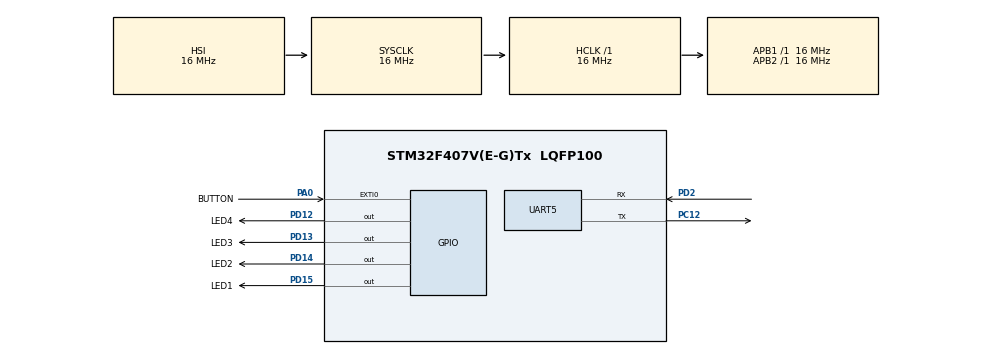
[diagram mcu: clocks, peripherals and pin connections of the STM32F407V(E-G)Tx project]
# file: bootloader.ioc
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Mcu.Family=STM32F4
PD12.GPIO_Label=LED4
RCC.CortexFreq_Value=16000000
PD15.GPIO_Label=LED1
PC12.Signal=UART5_TX
UART5.VirtualMode=Asynchronous
ProjectManager.StackSize=0x400
PA0-WKUP.GPIO_Label=BUTTON
PA0-WKUP.Signal=GPXTI0
PD13.Signal=GPIO_Output
ProjectManager.TargetToolchain=STM32CubeIDE
RCC.LSE_VALUE=32768
RCC.AHBFreq_Value=16000000
PD2.Mode=Asynchronous
RCC.HSE_VALUE=25000000
PC12.Mode=Asynchronous
board=custom
RCC.VCOOutputFreq_Value=192000000
RCC.APB2Freq_Value=16000000
PD14.GPIO_Label=LED2
Mcu.Name=STM32F407V(E-G)Tx
PD14.Signal=GPIO_Output
NVIC.EXTI0_IRQn=true\:0\:0\:false\:false\:true\:true\:true
RCC.SYSCLKFreq_VALUE=16000000
PD13.GPIO_Label=LED3
Mcu.Package=LQFP100
PD12.Signal=GPIO_Output
ProjectManager.HeapSize=0x200
RCC.HSI_VALUE=16000000
NVIC.PriorityGroup=NVIC_PRIORITYGROUP_4
PA0-WKUP.GPIO_PuPd=GPIO_PULLDOWN
PD2.Signal=UART5_RX
RCC.APB1Freq_Value=16000000
PD15.Signal=GPIO_Output

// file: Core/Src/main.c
/* USER CODE BEGIN Header */
/**
  ******************************************************************************
  * @file           : main.c
  * @brief          : Main program body
  ******************************************************************************
  * @attention
  *
  * <h2><center>&copy; Copyright (c) 2022 STMicroelectronics.
  * All rights reserved.</center></h2>
  *
  * This software component is licensed by ST under BSD 3-Clause license,
  * the "License"; You may not use this file except in compliance with the
  * License. You may obtain a copy of the License at:
  *                        opensource.org/licenses/BSD-3-Clause
  *
  ******************************************************************************
  */
/* USER CODE END Header */
#include "main.h"
#include "usart.h"
#include "gpio.h"

/* USER CODE BEGIN Includes */
#include "stdio.h"
/* USER CODE END Includes */

void SystemClock_Config(void);
/* USER CODE BEGIN PFP */
static void goto_application( void );
/* USER CODE END PFP */

int main(void)
{

  /* MCU Configuration--------------------------------------------------------*/

  /* Reset of all peripherals, Initializes the Flash interface and the Systick. */
  HAL_Init();

  /* Configure the system clock */
  SystemClock_Config();

  /* Initialize all configured peripherals */
  MX_GPIO_Init();
  MX_UART5_Init();
  /* USER CODE BEGIN 2 */
  HAL_GPIO_WritePin(LED1_GPIO_Port, LED1_Pin, GPIO_PIN_SET );    // LED1 ON
  printf("Starting Bootloader\r\n" );
  HAL_Delay(2000);   //2sec delay for nothing

   // Jump to application
   goto_application();
  /* USER CODE END 2 */

  /* Infinite loop */
  while (1)
  {

  }
}

void SystemClock_Config(void)
{
  RCC_OscInitTypeDef RCC_OscInitStruct = {0};
  RCC_ClkInitTypeDef RCC_ClkInitStruct = {0};

  /** Configure the main internal regulator output voltage
  */
  __HAL_RCC_PWR_CLK_ENABLE();
  __HAL_PWR_VOLTAGESCALING_CONFIG(PWR_REGULATOR_VOLTAGE_SCALE1);
  /** Initializes the RCC Oscillators according to the specified parameters
  * in the RCC_OscInitTypeDef structure.
  */
  RCC_OscInitStruct.OscillatorType = RCC_OSCILLATORTYPE_HSI;
  RCC_OscInitStruct.HSIState = RCC_HSI_ON;
  RCC_OscInitStruct.HSICalibrationValue = RCC_HSICALIBRATION_DEFAULT;
  RCC_OscInitStruct.PLL.PLLState = RCC_PLL_NONE;
  if (HAL_RCC_OscConfig(&RCC_OscInitStruct) != HAL_OK)
  {
    Error_Handler();
  }
  /** Initializes the CPU, AHB and APB buses clocks
  */
  RCC_ClkInitStruct.ClockType = RCC_CLOCKTYPE_HCLK|RCC_CLOCKTYPE_SYSCLK
                              |RCC_CLOCKTYPE_PCLK1|RCC_CLOCKTYPE_PCLK2;
  RCC_ClkInitStruct.SYSCLKSource = RCC_SYSCLKSOURCE_HSI;
  RCC_ClkInitStruct.AHBCLKDivider = RCC_SYSCLK_DIV1;
  RCC_ClkInitStruct.APB1CLKDivider = RCC_HCLK_DIV1;
  RCC_ClkInitStruct.APB2CLKDivider = RCC_HCLK_DIV1;

  if (HAL_RCC_ClockConfig(&RCC_ClkInitStruct, FLASH_LATENCY_0) != HAL_OK)
  {
    Error_Handler();
  }
}

/* USER CODE BEGIN 4 */

/**
  * @brief Print the characters to UART (printf).
  * @retval int
  */
#ifdef __GNUC__
  /* With GCC, small printf (option LD Linker->Libraries->Small printf
     set to 'Yes') calls __io_putchar() */
int __io_putchar(int ch)
#else
int fputc(int ch, FILE *f)
#endif /* __GNUC__ */
{
  /* Place your implementation of fputc here */
  /* e.g. write a character to the UART3 and Loop until the end of transmission */
  HAL_UART_Transmit(&huart5, (uint8_t *)&ch, 1, HAL_MAX_DELAY);
  return ch;
}

/**
  * @brief Jump to application from the Bootloader
  * @retval None
  */
static void goto_application(void)
{
  printf("Gonna Jump to Application\r\n");

  void (*app_reset_handler)(void) = (void*)(*((volatile uint32_t*) (0x08040000 + 4U)));

  //__set_MSP(*(volatile uint32_t*) 0x08040000);

  // Turn OFF the Green Led to tell the user that Bootloader is not running
  HAL_GPIO_WritePin(LED1_GPIO_Port, LED1_Pin, GPIO_PIN_RESET );    //LED1 OFF
  app_reset_handler();    //call the app reset handler
}
/* USER CODE END 4 */

void Error_Handler(void)
{
  __disable_irq();
  while (1)
  {
  }
}

/************************ (C) COPYRIGHT STMicroelectronics *****END OF FILE****/
